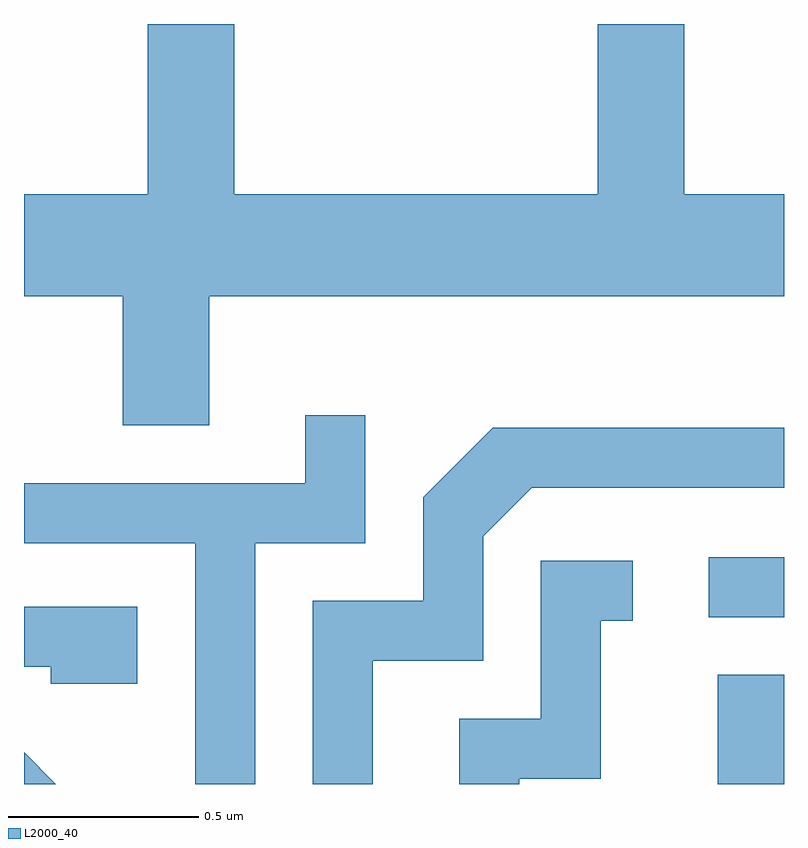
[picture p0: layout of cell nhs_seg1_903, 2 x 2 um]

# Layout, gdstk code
import gdstk
lib = gdstk.Library(unit=1e-6, precision=1e-09)
def R(c, l, rs):  # rectangles x0, y0, x1, y1
    for r in rs: c.add(gdstk.rectangle(r[:2], r[2:], *l))
def P(c, l, *ps):  # polygons
    for p in ps: c.add(gdstk.Polygon(p, *l))
L2000_40 = (2000, 40)

nhs_seg1_903 = lib.new_cell('nhs_seg1_903')
R(nhs_seg1_903, L2000_40, [(193.436,922.712,193.611,922.999), (193.413,923.151,193.611,923.309)])
P(nhs_seg1_903, L2000_40, [(192.099,923.996),(193.611,923.996),(193.611,924.264),(193.349,924.264),(193.349,924.712),(193.121,924.712),(193.121,924.264),(192.164,924.264),(192.164,924.712),(191.936,924.712),(191.936,924.264),(191.611,924.264),(191.611,923.996),(191.871,923.996),(191.871,923.656),(192.099,923.656)],
  [(192.219,923.346),(192.509,923.346),(192.509,923.683),(192.351,923.683),(192.351,923.504),(191.611,923.504),(191.611,923.346),(192.061,923.346),(192.061,922.712),(192.219,922.712)],
  [(192.529,923.036),(192.819,923.036),(192.819,923.364),(192.947,923.491),(193.611,923.491),(193.611,923.649),(192.844,923.649),(192.661,923.467),(192.661,923.194),(192.371,923.194),(192.371,922.712),(192.529,922.712)],
  [(192.914,922.726),(193.129,922.726),(193.129,923.141),(193.213,923.141),(193.213,923.299),(192.971,923.299),(192.971,922.884),(192.756,922.884),(192.756,922.712),(192.914,922.712)],
  [(191.909,923.179),(191.611,923.179),(191.611,923.021),(191.681,923.021),(191.681,922.976),(191.909,922.976)],
  [(191.611,922.795),(191.611,922.712),(191.694,922.712)])

lib.write_gds('nhs_seg1_903.gds')
